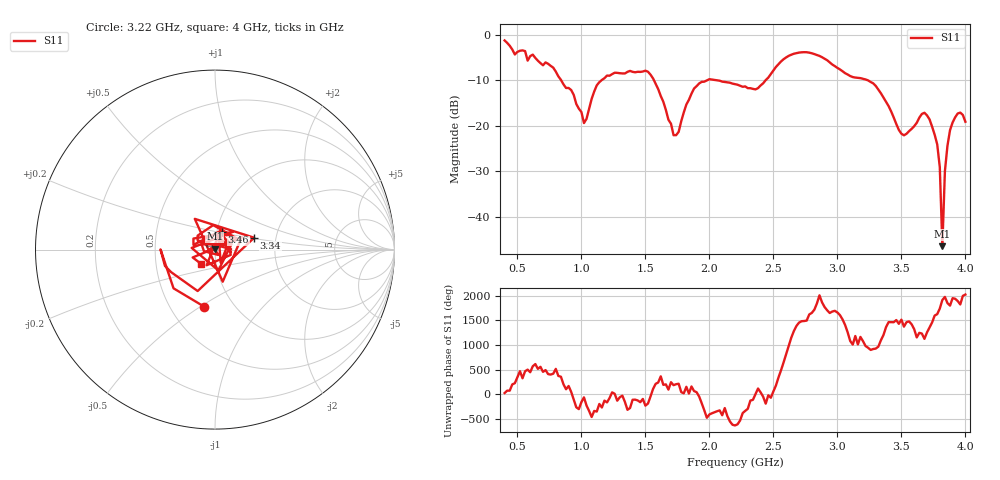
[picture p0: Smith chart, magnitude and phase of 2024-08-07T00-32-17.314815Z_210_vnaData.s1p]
!Created with skrf (http://scikit-rf.org).
# Hz S RI R 50.0
!freq ReS11 ImS11
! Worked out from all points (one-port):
!   181 points, 400 MHz to 4 GHz, reference 50 ohm
!   lowest |S11| = -46.5 dB at 3.82 GHz (marker M1), VSWR 1.01, Z = 49.8 + j0.427 ohm
!   |S11| at or under -10 dB: 1.567 GHz to 1.98 GHz (412.5 MHz wide, 23.3 % of centre); 2.067 GHz to 2.438 GHz (371 MHz wide, 16.5 % of centre); 3.24 GHz to end of sweep (the widest 3 of 4)
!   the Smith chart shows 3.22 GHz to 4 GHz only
!   S11 on the Smith chart (normalised r, x): 3.22 GHz: 0.73, -0.52; 3.34 GHz: 1.54, +0.22; 3.46 GHz: 1.06, +0.21; 4 GHz: 0.85, -0.14
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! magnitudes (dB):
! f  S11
! 400 MHz  -1.2
! 740 MHz  -6.4
! 860 MHz  -10.9
! 940 MHz  -13.2
! 1.02 GHz  -19.4
! 1.12 GHz  -11.1
! 1.3 GHz  -8.4
! 1.52 GHz  -8.1
! 1.72 GHz  -22.1
! 1.76 GHz  -21.3
! 1.82 GHz  -15.3
! 1.92 GHz  -10.7
! 2.2 GHz  -10.8
! 2.38 GHz  -11.7
! 2.66 GHz  -4.1
! 3.1 GHz  -9.0
! 3.22 GHz  -9.8
! 3.34 GHz  -12.8
! 3.46 GHz  -19.6
! 3.56 GHz  -21.2
! 3.68 GHz  -17.1
! 3.76 GHz  -22.0
! 3.8 GHz  -29.1
! 3.82 GHz  -46.5
! 3.84 GHz  -30.0
! 3.88 GHz  -21.0
! 3.94 GHz  -17.3
! 4 GHz  -19.1
